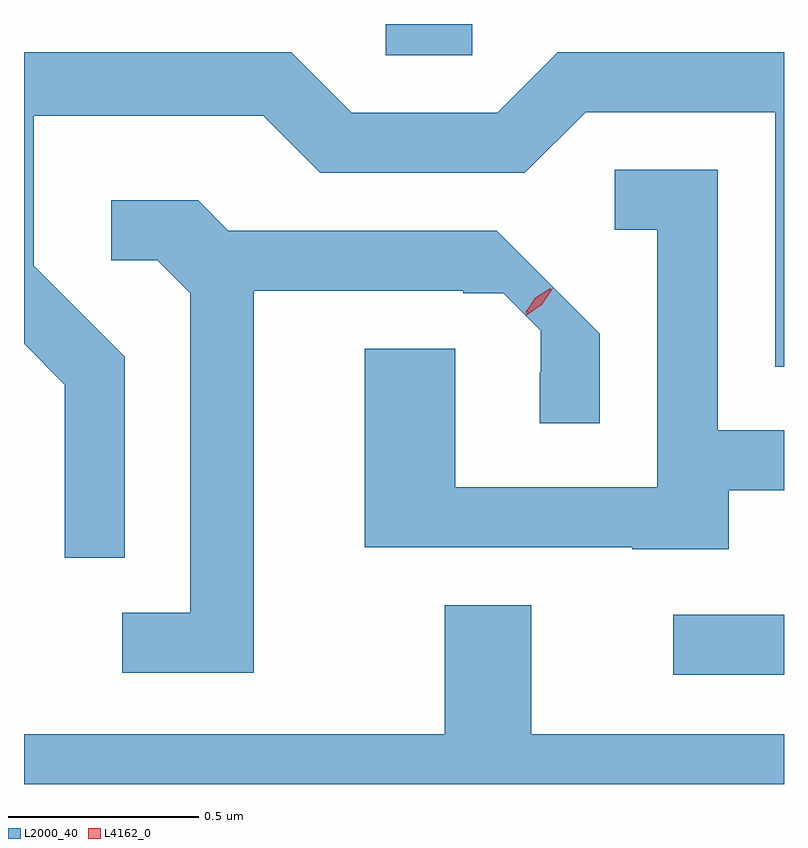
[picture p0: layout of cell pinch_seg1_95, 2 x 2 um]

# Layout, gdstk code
import gdstk
lib = gdstk.Library(unit=1e-6, precision=1e-09)
def R(c, l, rs):  # rectangles x0, y0, x1, y1
    for r in rs: c.add(gdstk.rectangle(r[:2], r[2:], *l))
def P(c, l, *ps):  # polygons
    for p in ps: c.add(gdstk.Polygon(p, *l))
L2000_40 = (2000, 40)
L4162_0 = (4162, 0)

pinch_seg1_95 = lib.new_cell('pinch_seg1_95')
R(pinch_seg1_95, L2000_40, [(1032.083,842.281,1032.374,842.439), (1031.326,843.911,1031.554,843.993)])
P(pinch_seg1_95, L2000_40, [(1030.639,843.117),(1030.399,843.357),(1030.399,843.751),(1031.004,843.751),(1031.154,843.601),(1031.692,843.601),(1031.852,843.761),(1032.351,843.761),(1032.351,843.091),(1032.374,843.091),(1032.374,843.919),(1031.779,843.919),(1031.619,843.759),(1031.237,843.759),(1031.077,843.919),(1030.374,843.919),(1030.374,843.151),(1030.481,843.044),(1030.481,842.588),(1030.639,842.588)],
  [(1032.229,842.766),(1032.374,842.766),(1032.374,842.924),(1032.199,842.924),(1032.199,843.609),(1031.928,843.609),(1031.928,843.451),(1032.041,843.451),(1032.041,842.774),(1031.509,842.774),(1031.509,843.139),(1031.271,843.139),(1031.271,842.616),(1031.975,842.616),(1031.975,842.611),(1032.229,842.611)],
  [(1030.979,843.291),(1031.53,843.291),(1031.53,843.285),(1031.635,843.285),(1031.734,843.186),(1031.734,843.076),(1031.731,843.076),(1031.731,842.943),(1031.889,842.943),(1031.889,843.178),(1031.618,843.449),(1030.911,843.449),(1030.832,843.529),(1030.603,843.529),(1030.603,843.371),(1030.724,843.371),(1030.811,843.284),(1030.811,842.444),(1030.632,842.444),(1030.632,842.286),(1030.979,842.286)],
  [(1032.374,842.124),(1031.709,842.124),(1031.709,842.464),(1031.481,842.464),(1031.481,842.124),(1030.374,842.124),(1030.374,841.993),(1032.374,841.993)])
P(pinch_seg1_95, L4162_0, [(1031.694,843.233),(1031.694,843.234),(1031.72,843.272),(1031.759,843.297),(1031.76,843.297),(1031.76,843.297),(1031.734,843.258),(1031.695,843.233)],
  [(1031.694,843.225),(1031.694,843.226),(1031.723,843.268),(1031.766,843.297),(1031.766,843.297),(1031.766,843.297),(1031.737,843.254),(1031.695,843.225)])

lib.write_gds('pinch_seg1_95.gds')
